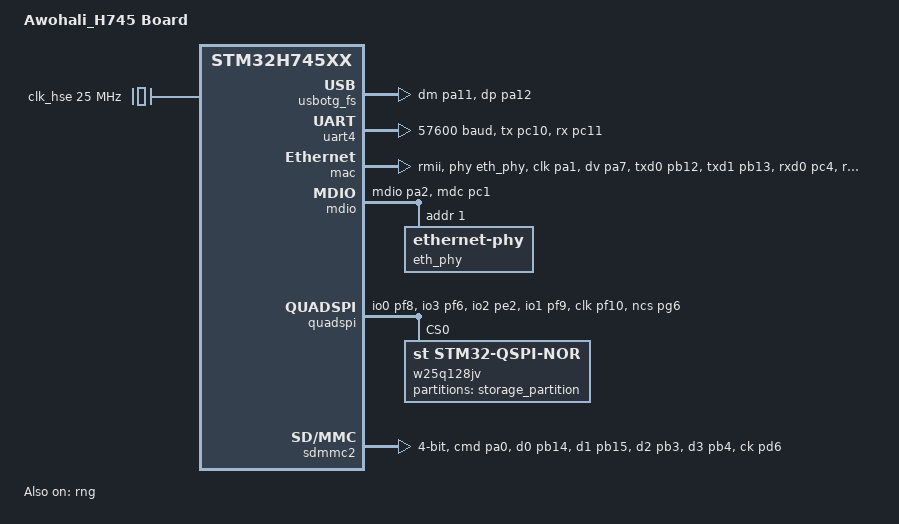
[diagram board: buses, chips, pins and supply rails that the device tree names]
/*
 * Copyright (c) 2026 Madison Gleydura <deepspace00@pm.me>
 *
 * SPDX-License-Identifier: Apache-2.0
 */

/dts-v1/;
#include <st/h7/stm32h745Xi_m7.dtsi>
#include "awohali_h745.dtsi"

/ {
	model = "Awohali_H745 Board";
	compatible = "st,stm32h745xx";

	/* HW resources belonging to CM7 */
	chosen {
		zephyr,console = &cdc_acm_uart0;
		zephyr,shell-uart = &cdc_acm_uart0;
		zephyr,dtcm = &dtcm;
		zephyr,sram = &sram0;
		zephyr,flash = &flash0;
	};

	aliases {
		spi-flash0 = &w25q128jv;
	};
};

&usbotg_fs {
	pinctrl-0 = <&usb_otg_fs_dm_pa11 &usb_otg_fs_dp_pa12>;
	pinctrl-names = "default";
	status = "okay";

	cdc_acm_uart0: cdc_acm_uart0 {
		compatible = "zephyr,cdc-acm-uart";
	};
};

&clk_lsi {
	status = "okay";
};

&clk_hsi48 {
	status = "okay";
};

&clk_hse {
	clock-frequency = <DT_FREQ_M(25)>; /* X1: 25MHz */
	status = "okay";
};

&pll {
	div-m = <5>;
	mul-n = <48>;
	div-p = <2>;
	div-q = <5>;
	div-r = <2>;
	clocks = <&clk_hse>;
	status = "okay";
};

&rcc {
	clocks = <&pll>;
	clock-frequency = <DT_FREQ_M(64)>;
};

&uart4 {
	pinctrl-0 = <&uart4_tx_pc10 &uart4_rx_pc11>;
	pinctrl-names = "default";
	current-speed = <57600>;
	status = "okay";
};

&mac {
	status = "okay";
	/* MII */
	pinctrl-0 = <&eth_ref_clk_pa1
		     &eth_crs_dv_pa7
			 &eth_txd0_pb12
			 &eth_txd1_pb13
			 &eth_rxd0_pc4
			 &eth_rxd1_pc5
		     &eth_tx_en_pg11>;
	pinctrl-names = "default";
	phy-connection-type = "rmii";
	phy-handle = <&eth_phy>;
};

&mdio {
    status = "okay";
    pinctrl-0 = <&eth_mdio_pa2 &eth_mdc_pc1>;
    pinctrl-names = "default";

    eth_phy: ethernet-phy@1 {
		compatible = "ethernet-phy";
		reg = <0x01>;
	};
};

&quadspi {
	pinctrl-0 = <&quadspi_bk1_io0_pf8
		     &quadspi_bk1_io3_pf6
		     &quadspi_bk1_io2_pe2
		     &quadspi_bk1_io1_pf9
		     &quadspi_clk_pf10
		     &quadspi_bk1_ncs_pg6>;
	pinctrl-names = "default";
	status = "okay";

	w25q128jv: qspi-nor-flash@0 {
		compatible = "st,stm32-qspi-nor";
		reg = <0>;
		size = <DT_SIZE_M(128)>; /* 128 Mbits */
		qspi-max-frequency = <72000000>;
		cs-high-time = <4>; /* >= 50 ns */
		spi-bus-width = <4>;
		status = "okay";

		partitions {
			compatible = "fixed-partitions";
			#address-cells = <1>;
			#size-cells = <1>;

			storage_partition: partition@0 {
				reg = <0x0 DT_SIZE_M(16)>;
			};
		};
	};
};

&rng {
	status = "okay";
};

&sdmmc2 {
	pinctrl-0 = <&sdmmc2_cmd_pa0
			&sdmmc2_d0_pb14
		 	&sdmmc2_d1_pb15
		 	&sdmmc2_d2_pb3
		 	&sdmmc2_d3_pb4
		 	&sdmmc2_ck_pd6>;
	pinctrl-names = "default";
	resets = <&rctl STM32_RESET(AHB2, 9)>;
	bus-width = <4>;
	disk-name = "SD";
	status = "okay";
};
